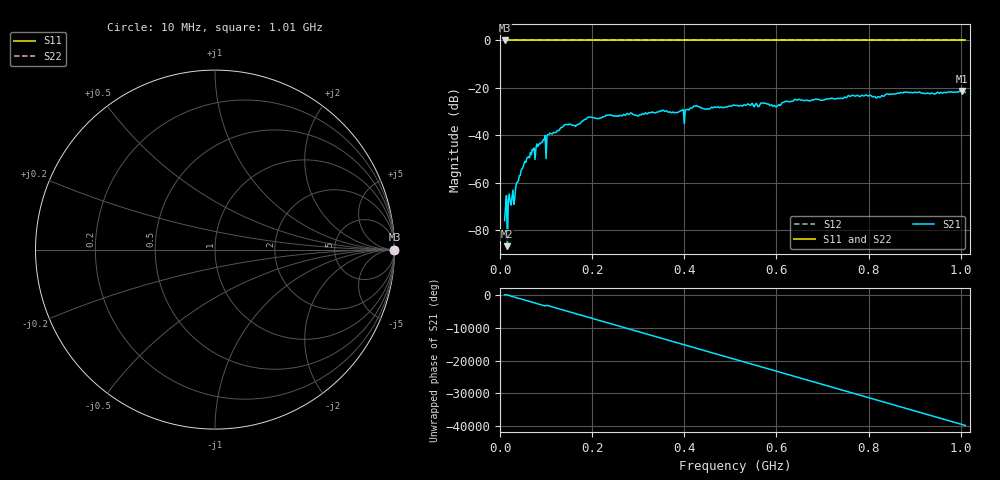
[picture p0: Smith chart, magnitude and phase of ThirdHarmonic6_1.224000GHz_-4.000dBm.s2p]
! 8/16/2025 12:51:44 PM
! C:\ANRITSUVNA\TEMP\TEMP.S2P
! CHANNEL.1
! TR.MEASUREMENT
! RAW.DATA
! RF.CORRECTION.OFF
! AVERAGING.OFF
! IF.BANDWIDTH: 5KHZ
! SWEEPTYPE:  FREQ.SWEEP(Linear)
! Reference Plane Port Info
! PORT:  PORT1  PORT2
! DISTANCE:  0  m  0  m
! TIME:  0  s  0  s
! PHASE.OFFSET:  0  deg.  0  deg.
! LOSS:  0  dB  0  dB
! REF.LOSS:  0  dB  0  dB
! REF.FREQ:  0  Hz  0  Hz
! Power Info
! POWER:  -20  dBm  -20  dBm
! EFF.POWER:  -20  dBm  -20  dBm
! SOURCE.ATTEN:  0  dB  0  dB
! TEST.ATTEN:  0  dB  0  dB
# GHZ S RI R 50.0
! FREQ.GHZ  S11RE  S11IM  S21RE  S21IM  S12RE  S12IM  S22RE  S22IM
!; PortSelection: Port_12
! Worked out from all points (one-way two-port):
!   501 points, 10 MHz to 1.01 GHz, reference 50 ohm
!   highest |S21| = -21.30 dB at 1.002 GHz (marker M1); lowest = -86.6 dB at 16 MHz (marker M2)
!   lowest |S11| = 0.0 dB at 10 MHz (marker M3)
!   |S11| at or under -10 dB: nowhere
!   |S22| runs from 0.0 to 0.0 dB; largest |S21 - S12| = 1.1
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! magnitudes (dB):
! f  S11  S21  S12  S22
! 10 MHz  0.0  -75.9  0.0  0.0
! 12 MHz  0.0  -70.2  0.0  0.0
! 16 MHz  0.0  -86.6  0.0  0.0
! 20 MHz  0.0  -64.7  0.0  0.0
! 24 MHz  0.0  -69.3  0.0  0.0
! 28 MHz  0.0  -63.0  0.0  0.0
! 50 MHz  0.0  -53.5  0.0  0.0
! 70 MHz  0.0  -45.8  0.0  0.0
! 94 MHz  0.0  -41.8  0.0  0.0
! 96 MHz  0.0  -41.8  0.0  0.0
! 106 MHz  0.0  -39.6  0.0  0.0
! 178 MHz  0.0  -34.1  0.0  0.0
! 194 MHz  0.0  -32.3  0.0  0.0
! 344 MHz  0.0  -30.1  0.0  0.0
! 398 MHz  0.0  -29.1  0.0  0.0
! 424 MHz  0.0  -27.7  0.0  0.0
! 510 MHz  0.0  -27.3  0.0  0.0
! 598 MHz  0.0  -27.9  0.0  0.0
! 678 MHz  0.0  -25.0  0.0  0.0
! 844 MHz  0.0  -22.7  0.0  0.0
! 1.002 GHz  0.0  -21.3  0.0  0.0
! 1.01 GHz  0.0  -21.9  0.0  0.0
